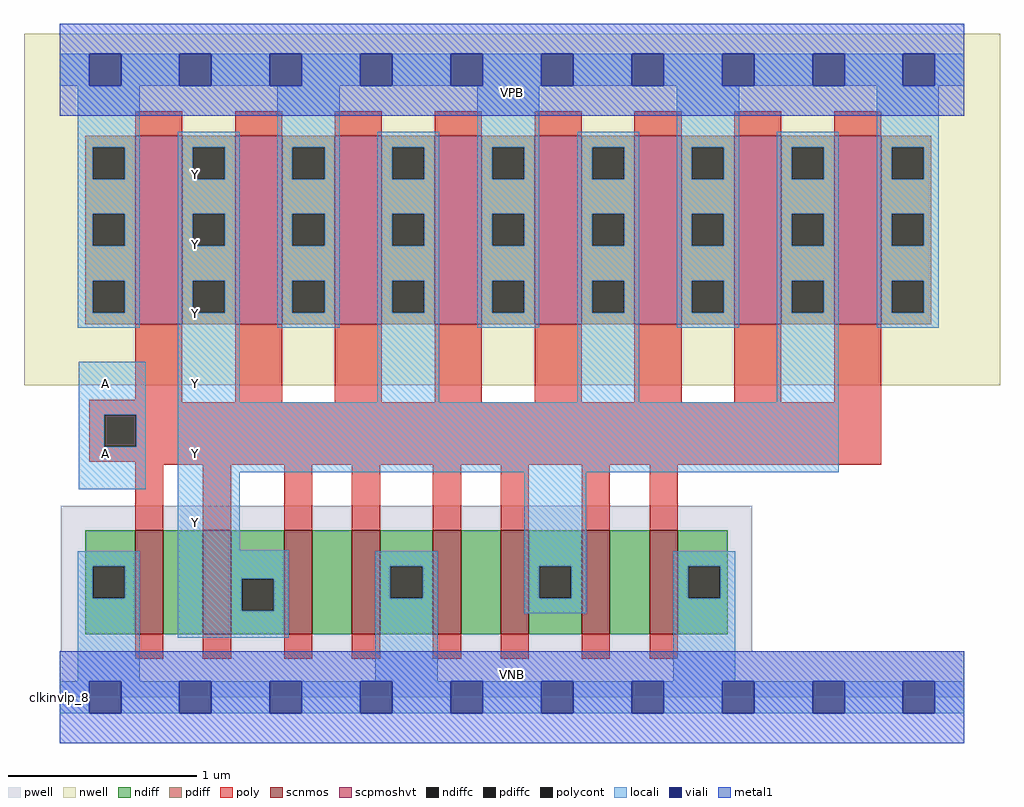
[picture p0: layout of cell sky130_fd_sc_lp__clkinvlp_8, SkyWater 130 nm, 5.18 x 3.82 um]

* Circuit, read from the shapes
.subckt sky130_fd_sc_lp__clkinvlp_8 A VGND VNB VPB VPWR Y
XM1 n1 A VGND VNB sky130_fd_pr__nfet_01v8 w=0.55 l=0.15
XM2 Y A n1 VNB sky130_fd_pr__nfet_01v8 w=0.55 l=0.15
XM3 n2 A Y VNB sky130_fd_pr__nfet_01v8 w=0.55 l=0.15
XM4 VGND A n2 VNB sky130_fd_pr__nfet_01v8 w=0.55 l=0.15
XM5 n3 A VGND VNB sky130_fd_pr__nfet_01v8 w=0.55 l=0.15
XM6 Y A n3 VNB sky130_fd_pr__nfet_01v8 w=0.55 l=0.15
XM7 n4 A Y VNB sky130_fd_pr__nfet_01v8 w=0.55 l=0.15
XM8 VGND A n4 VNB sky130_fd_pr__nfet_01v8 w=0.55 l=0.15
XM9 Y A VPWR VPB sky130_fd_pr__pfet_01v8_hvt w=1 l=0.25 m=8
.ends

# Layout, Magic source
magic
tech sky130A
magscale 1 2
<< nwell >>
rect -38 331 998 704
<< pwell >>
rect 1 49 735 203
rect 0 0 960 49
<< scnmos >>
rect 80 67 110 177
rect 152 67 182 177
rect 238 67 268 177
rect 310 67 340 177
rect 396 67 426 177
rect 468 67 498 177
rect 554 67 584 177
rect 626 67 656 177
<< scpmoshvt >>
rect 80 396 130 596
rect 186 396 236 596
rect 292 396 342 596
rect 398 396 448 596
rect 504 396 554 596
rect 610 396 660 596
rect 716 396 766 596
rect 822 396 872 596
<< ndiff >>
rect 27 139 80 177
rect 27 105 35 139
rect 69 105 80 139
rect 27 67 80 105
rect 110 67 152 177
rect 182 126 238 177
rect 182 92 193 126
rect 227 92 238 126
rect 182 67 238 92
rect 268 67 310 177
rect 340 139 396 177
rect 340 105 351 139
rect 385 105 396 139
rect 340 67 396 105
rect 426 67 468 177
rect 498 139 554 177
rect 498 105 509 139
rect 543 105 554 139
rect 498 67 554 105
rect 584 67 626 177
rect 656 139 709 177
rect 656 105 667 139
rect 701 105 709 139
rect 656 67 709 105
<< pdiff >>
rect 27 584 80 596
rect 27 550 35 584
rect 69 550 80 584
rect 27 513 80 550
rect 27 479 35 513
rect 69 479 80 513
rect 27 442 80 479
rect 27 408 35 442
rect 69 408 80 442
rect 27 396 80 408
rect 130 584 186 596
rect 130 550 141 584
rect 175 550 186 584
rect 130 513 186 550
rect 130 479 141 513
rect 175 479 186 513
rect 130 442 186 479
rect 130 408 141 442
rect 175 408 186 442
rect 130 396 186 408
rect 236 584 292 596
rect 236 550 247 584
rect 281 550 292 584
rect 236 513 292 550
rect 236 479 247 513
rect 281 479 292 513
rect 236 442 292 479
rect 236 408 247 442
rect 281 408 292 442
rect 236 396 292 408
rect 342 584 398 596
rect 342 550 353 584
rect 387 550 398 584
rect 342 513 398 550
rect 342 479 353 513
rect 387 479 398 513
rect 342 442 398 479
rect 342 408 353 442
rect 387 408 398 442
rect 342 396 398 408
rect 448 584 504 596
rect 448 550 459 584
rect 493 550 504 584
rect 448 513 504 550
rect 448 479 459 513
rect 493 479 504 513
rect 448 442 504 479
rect 448 408 459 442
rect 493 408 504 442
rect 448 396 504 408
rect 554 584 610 596
rect 554 550 565 584
rect 599 550 610 584
rect 554 513 610 550
rect 554 479 565 513
rect 599 479 610 513
rect 554 442 610 479
rect 554 408 565 442
rect 599 408 610 442
rect 554 396 610 408
rect 660 584 716 596
rect 660 550 671 584
rect 705 550 716 584
rect 660 513 716 550
rect 660 479 671 513
rect 705 479 716 513
rect 660 442 716 479
rect 660 408 671 442
rect 705 408 716 442
rect 660 396 716 408
rect 766 584 822 596
rect 766 550 777 584
rect 811 550 822 584
rect 766 513 822 550
rect 766 479 777 513
rect 811 479 822 513
rect 766 442 822 479
rect 766 408 777 442
rect 811 408 822 442
rect 766 396 822 408
rect 872 584 925 596
rect 872 550 883 584
rect 917 550 925 584
rect 872 513 925 550
rect 872 479 883 513
rect 917 479 925 513
rect 872 442 925 479
rect 872 408 883 442
rect 917 408 925 442
rect 872 396 925 408
<< ndiffc >>
rect 35 105 69 139
rect 193 92 227 126
rect 351 105 385 139
rect 509 105 543 139
rect 667 105 701 139
<< pdiffc >>
rect 35 550 69 584
rect 35 479 69 513
rect 35 408 69 442
rect 141 550 175 584
rect 141 479 175 513
rect 141 408 175 442
rect 247 550 281 584
rect 247 479 281 513
rect 247 408 281 442
rect 353 550 387 584
rect 353 479 387 513
rect 353 408 387 442
rect 459 550 493 584
rect 459 479 493 513
rect 459 408 493 442
rect 565 550 599 584
rect 565 479 599 513
rect 565 408 599 442
rect 671 550 705 584
rect 671 479 705 513
rect 671 408 705 442
rect 777 550 811 584
rect 777 479 811 513
rect 777 408 811 442
rect 883 550 917 584
rect 883 479 917 513
rect 883 408 917 442
<< poly >>
rect 80 596 130 622
rect 186 596 236 622
rect 292 596 342 622
rect 398 596 448 622
rect 504 596 554 622
rect 610 596 660 622
rect 716 596 766 622
rect 822 596 872 622
rect 80 316 130 396
rect 31 313 130 316
rect 186 313 236 396
rect 292 313 342 396
rect 398 313 448 396
rect 504 313 554 396
rect 610 313 660 396
rect 716 313 766 396
rect 822 313 872 396
rect 31 300 872 313
rect 31 266 47 300
rect 81 266 872 300
rect 31 250 872 266
rect 80 247 872 250
rect 80 177 110 247
rect 152 177 182 247
rect 238 177 268 247
rect 310 177 340 247
rect 396 177 426 247
rect 468 177 498 247
rect 554 177 584 247
rect 626 177 656 247
rect 80 41 110 67
rect 152 41 182 67
rect 238 41 268 67
rect 310 41 340 67
rect 396 41 426 67
rect 468 41 498 67
rect 554 41 584 67
rect 626 41 656 67
<< polycont >>
rect 47 266 81 300
<< locali >>
rect 0 649 31 683
rect 65 649 127 683
rect 161 649 223 683
rect 257 649 319 683
rect 353 649 415 683
rect 449 649 511 683
rect 545 649 607 683
rect 641 649 703 683
rect 737 649 799 683
rect 833 649 895 683
rect 929 649 960 683
rect 19 584 85 649
rect 19 550 35 584
rect 69 550 85 584
rect 19 513 85 550
rect 19 479 35 513
rect 69 479 85 513
rect 19 442 85 479
rect 19 408 35 442
rect 69 408 85 442
rect 19 392 85 408
rect 125 584 191 600
rect 125 550 141 584
rect 175 550 191 584
rect 125 513 191 550
rect 125 479 141 513
rect 175 479 191 513
rect 125 442 191 479
rect 125 408 141 442
rect 175 408 191 442
rect 20 300 91 356
rect 20 266 47 300
rect 81 266 91 300
rect 20 221 91 266
rect 125 313 191 408
rect 231 584 297 649
rect 231 550 247 584
rect 281 550 297 584
rect 231 513 297 550
rect 231 479 247 513
rect 281 479 297 513
rect 231 442 297 479
rect 231 408 247 442
rect 281 408 297 442
rect 231 392 297 408
rect 337 584 403 600
rect 337 550 353 584
rect 387 550 403 584
rect 337 513 403 550
rect 337 479 353 513
rect 387 479 403 513
rect 337 442 403 479
rect 337 408 353 442
rect 387 408 403 442
rect 337 313 403 408
rect 443 584 509 649
rect 443 550 459 584
rect 493 550 509 584
rect 443 513 509 550
rect 443 479 459 513
rect 493 479 509 513
rect 443 442 509 479
rect 443 408 459 442
rect 493 408 509 442
rect 443 392 509 408
rect 549 584 615 600
rect 549 550 565 584
rect 599 550 615 584
rect 549 513 615 550
rect 549 479 565 513
rect 599 479 615 513
rect 549 442 615 479
rect 549 408 565 442
rect 599 408 615 442
rect 549 313 615 408
rect 655 584 721 649
rect 655 550 671 584
rect 705 550 721 584
rect 655 513 721 550
rect 655 479 671 513
rect 705 479 721 513
rect 655 442 721 479
rect 655 408 671 442
rect 705 408 721 442
rect 655 392 721 408
rect 761 584 827 600
rect 761 550 777 584
rect 811 550 827 584
rect 761 513 827 550
rect 761 479 777 513
rect 811 479 827 513
rect 761 442 827 479
rect 761 408 777 442
rect 811 408 827 442
rect 761 313 827 408
rect 867 584 933 649
rect 867 550 883 584
rect 917 550 933 584
rect 867 513 933 550
rect 867 479 883 513
rect 917 479 933 513
rect 867 442 933 479
rect 867 408 883 442
rect 917 408 933 442
rect 867 392 933 408
rect 125 239 827 313
rect 125 156 191 239
rect 19 139 85 155
rect 19 105 35 139
rect 69 105 85 139
rect 19 17 85 105
rect 125 126 243 156
rect 125 92 193 126
rect 227 92 243 126
rect 125 63 243 92
rect 335 139 401 155
rect 335 105 351 139
rect 385 105 401 139
rect 335 17 401 105
rect 493 139 559 239
rect 493 105 509 139
rect 543 105 559 139
rect 493 89 559 105
rect 651 139 717 155
rect 651 105 667 139
rect 701 105 717 139
rect 651 17 717 105
rect 0 -17 31 17
rect 65 -17 127 17
rect 161 -17 223 17
rect 257 -17 319 17
rect 353 -17 415 17
rect 449 -17 511 17
rect 545 -17 607 17
rect 641 -17 703 17
rect 737 -17 799 17
rect 833 -17 895 17
rect 929 -17 960 17
<< viali >>
rect 31 649 65 683
rect 127 649 161 683
rect 223 649 257 683
rect 319 649 353 683
rect 415 649 449 683
rect 511 649 545 683
rect 607 649 641 683
rect 703 649 737 683
rect 799 649 833 683
rect 895 649 929 683
rect 31 -17 65 17
rect 127 -17 161 17
rect 223 -17 257 17
rect 319 -17 353 17
rect 415 -17 449 17
rect 511 -17 545 17
rect 607 -17 641 17
rect 703 -17 737 17
rect 799 -17 833 17
rect 895 -17 929 17
<< metal1 >>
rect 0 683 960 715
rect 0 649 31 683
rect 65 649 127 683
rect 161 649 223 683
rect 257 649 319 683
rect 353 649 415 683
rect 449 649 511 683
rect 545 649 607 683
rect 641 649 703 683
rect 737 649 799 683
rect 833 649 895 683
rect 929 649 960 683
rect 0 617 960 649
rect 0 17 960 49
rect 0 -17 31 17
rect 65 -17 127 17
rect 161 -17 223 17
rect 257 -17 319 17
rect 353 -17 415 17
rect 449 -17 511 17
rect 545 -17 607 17
rect 641 -17 703 17
rect 737 -17 799 17
rect 833 -17 895 17
rect 929 -17 960 17
rect 0 -49 960 -17
<< labels >>
flabel pwell s 0 0 960 49 0 FreeSans 200 0 0 0 VNB
port 3 nsew ground bidirectional
flabel nwell s 0 617 960 666 0 FreeSans 200 0 0 0 VPB
port 4 nsew power bidirectional
rlabel comment s 0 0 0 0 4 clkinvlp_8
flabel metal1 s 0 617 960 666 0 FreeSans 340 0 0 0 VPWR
port 5 nsew power bidirectional
flabel metal1 s 0 0 960 49 0 FreeSans 340 0 0 0 VGND
port 2 nsew ground bidirectional
flabel locali s 31 242 65 276 0 FreeSans 340 0 0 0 A
port 1 nsew signal input
flabel locali s 31 316 65 350 0 FreeSans 340 0 0 0 A
port 1 nsew signal input
flabel locali s 127 168 161 202 0 FreeSans 340 0 0 0 Y
port 6 nsew signal output
flabel locali s 127 242 161 276 0 FreeSans 340 0 0 0 Y
port 6 nsew signal output
flabel locali s 127 316 161 350 0 FreeSans 340 0 0 0 Y
port 6 nsew signal output
flabel locali s 127 390 161 424 0 FreeSans 340 0 0 0 Y
port 6 nsew signal output
flabel locali s 127 464 161 498 0 FreeSans 340 0 0 0 Y
port 6 nsew signal output
flabel locali s 127 538 161 572 0 FreeSans 340 0 0 0 Y
port 6 nsew signal output
<< properties >>
string LEFsite unit
string LEFclass CORE
string FIXED_BBOX 0 0 960 666
string GDS_FILE $PDKPATH/libs.ref/sky130_fd_sc_lp/gds/sky130_fd_sc_lp.gds
string LEFsymmetry X Y R90
string GDS_END 2225802
string GDS_START 2218874
<< end >>
